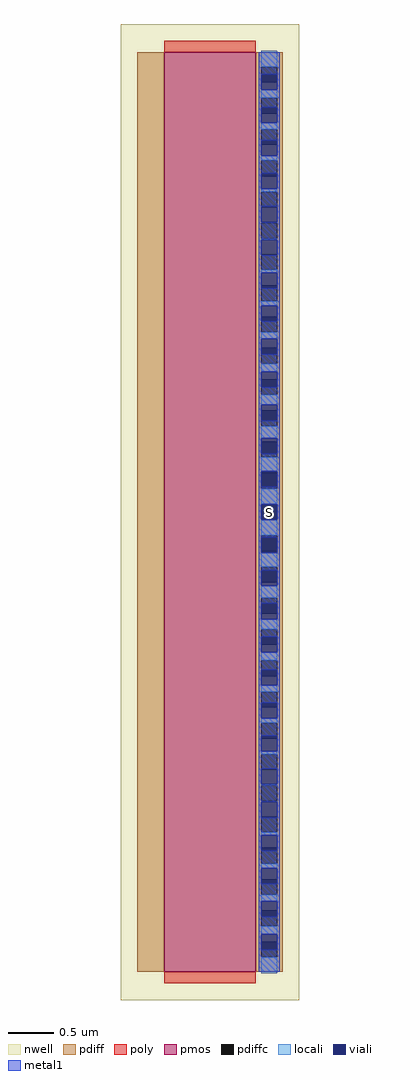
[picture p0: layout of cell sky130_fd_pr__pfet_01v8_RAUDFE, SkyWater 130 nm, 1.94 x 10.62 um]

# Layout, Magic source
magic
tech sky130A
magscale 1 2
<< nwell >>
rect -194 -1062 194 1062
<< pmos >>
rect -100 -1000 100 1000
<< pdiff >>
rect -158 -1000 -100 1000
rect 100 969 158 1000
rect 100 935 112 969
rect 146 935 158 969
rect 100 901 158 935
rect 100 867 112 901
rect 146 867 158 901
rect 100 833 158 867
rect 100 799 112 833
rect 146 799 158 833
rect 100 765 158 799
rect 100 731 112 765
rect 146 731 158 765
rect 100 697 158 731
rect 100 663 112 697
rect 146 663 158 697
rect 100 629 158 663
rect 100 595 112 629
rect 146 595 158 629
rect 100 561 158 595
rect 100 527 112 561
rect 146 527 158 561
rect 100 493 158 527
rect 100 459 112 493
rect 146 459 158 493
rect 100 425 158 459
rect 100 391 112 425
rect 146 391 158 425
rect 100 357 158 391
rect 100 323 112 357
rect 146 323 158 357
rect 100 289 158 323
rect 100 255 112 289
rect 146 255 158 289
rect 100 221 158 255
rect 100 187 112 221
rect 146 187 158 221
rect 100 153 158 187
rect 100 119 112 153
rect 146 119 158 153
rect 100 85 158 119
rect 100 51 112 85
rect 146 51 158 85
rect 100 17 158 51
rect 100 -17 112 17
rect 146 -17 158 17
rect 100 -51 158 -17
rect 100 -85 112 -51
rect 146 -85 158 -51
rect 100 -119 158 -85
rect 100 -153 112 -119
rect 146 -153 158 -119
rect 100 -187 158 -153
rect 100 -221 112 -187
rect 146 -221 158 -187
rect 100 -255 158 -221
rect 100 -289 112 -255
rect 146 -289 158 -255
rect 100 -323 158 -289
rect 100 -357 112 -323
rect 146 -357 158 -323
rect 100 -391 158 -357
rect 100 -425 112 -391
rect 146 -425 158 -391
rect 100 -459 158 -425
rect 100 -493 112 -459
rect 146 -493 158 -459
rect 100 -527 158 -493
rect 100 -561 112 -527
rect 146 -561 158 -527
rect 100 -595 158 -561
rect 100 -629 112 -595
rect 146 -629 158 -595
rect 100 -663 158 -629
rect 100 -697 112 -663
rect 146 -697 158 -663
rect 100 -731 158 -697
rect 100 -765 112 -731
rect 146 -765 158 -731
rect 100 -799 158 -765
rect 100 -833 112 -799
rect 146 -833 158 -799
rect 100 -867 158 -833
rect 100 -901 112 -867
rect 146 -901 158 -867
rect 100 -935 158 -901
rect 100 -969 112 -935
rect 146 -969 158 -935
rect 100 -1000 158 -969
<< pdiffc >>
rect 112 935 146 969
rect 112 867 146 901
rect 112 799 146 833
rect 112 731 146 765
rect 112 663 146 697
rect 112 595 146 629
rect 112 527 146 561
rect 112 459 146 493
rect 112 391 146 425
rect 112 323 146 357
rect 112 255 146 289
rect 112 187 146 221
rect 112 119 146 153
rect 112 51 146 85
rect 112 -17 146 17
rect 112 -85 146 -51
rect 112 -153 146 -119
rect 112 -221 146 -187
rect 112 -289 146 -255
rect 112 -357 146 -323
rect 112 -425 146 -391
rect 112 -493 146 -459
rect 112 -561 146 -527
rect 112 -629 146 -595
rect 112 -697 146 -663
rect 112 -765 146 -731
rect 112 -833 146 -799
rect 112 -901 146 -867
rect 112 -969 146 -935
<< poly >>
rect -100 1000 100 1026
rect -100 -1026 100 -1000
<< locali >>
rect 112 969 146 1004
rect 112 901 146 919
rect 112 833 146 847
rect 112 765 146 775
rect 112 697 146 703
rect 112 629 146 631
rect 112 593 146 595
rect 112 521 146 527
rect 112 449 146 459
rect 112 377 146 391
rect 112 305 146 323
rect 112 233 146 255
rect 112 161 146 187
rect 112 89 146 119
rect 112 17 146 51
rect 112 -51 146 -17
rect 112 -119 146 -89
rect 112 -187 146 -161
rect 112 -255 146 -233
rect 112 -323 146 -305
rect 112 -391 146 -377
rect 112 -459 146 -449
rect 112 -527 146 -521
rect 112 -595 146 -593
rect 112 -631 146 -629
rect 112 -703 146 -697
rect 112 -775 146 -765
rect 112 -847 146 -833
rect 112 -919 146 -901
rect 112 -1004 146 -969
<< viali >>
rect 112 935 146 953
rect 112 919 146 935
rect 112 867 146 881
rect 112 847 146 867
rect 112 799 146 809
rect 112 775 146 799
rect 112 731 146 737
rect 112 703 146 731
rect 112 663 146 665
rect 112 631 146 663
rect 112 561 146 593
rect 112 559 146 561
rect 112 493 146 521
rect 112 487 146 493
rect 112 425 146 449
rect 112 415 146 425
rect 112 357 146 377
rect 112 343 146 357
rect 112 289 146 305
rect 112 271 146 289
rect 112 221 146 233
rect 112 199 146 221
rect 112 153 146 161
rect 112 127 146 153
rect 112 85 146 89
rect 112 55 146 85
rect 112 -17 146 17
rect 112 -85 146 -55
rect 112 -89 146 -85
rect 112 -153 146 -127
rect 112 -161 146 -153
rect 112 -221 146 -199
rect 112 -233 146 -221
rect 112 -289 146 -271
rect 112 -305 146 -289
rect 112 -357 146 -343
rect 112 -377 146 -357
rect 112 -425 146 -415
rect 112 -449 146 -425
rect 112 -493 146 -487
rect 112 -521 146 -493
rect 112 -561 146 -559
rect 112 -593 146 -561
rect 112 -663 146 -631
rect 112 -665 146 -663
rect 112 -731 146 -703
rect 112 -737 146 -731
rect 112 -799 146 -775
rect 112 -809 146 -799
rect 112 -867 146 -847
rect 112 -881 146 -867
rect 112 -935 146 -919
rect 112 -953 146 -935
<< metal1 >>
rect 106 953 152 1000
rect 106 919 112 953
rect 146 919 152 953
rect 106 881 152 919
rect 106 847 112 881
rect 146 847 152 881
rect 106 809 152 847
rect 106 775 112 809
rect 146 775 152 809
rect 106 737 152 775
rect 106 703 112 737
rect 146 703 152 737
rect 106 665 152 703
rect 106 631 112 665
rect 146 631 152 665
rect 106 593 152 631
rect 106 559 112 593
rect 146 559 152 593
rect 106 521 152 559
rect 106 487 112 521
rect 146 487 152 521
rect 106 449 152 487
rect 106 415 112 449
rect 146 415 152 449
rect 106 377 152 415
rect 106 343 112 377
rect 146 343 152 377
rect 106 305 152 343
rect 106 271 112 305
rect 146 271 152 305
rect 106 233 152 271
rect 106 199 112 233
rect 146 199 152 233
rect 106 161 152 199
rect 106 127 112 161
rect 146 127 152 161
rect 106 89 152 127
rect 106 55 112 89
rect 146 55 152 89
rect 106 17 152 55
rect 106 -17 112 17
rect 146 -17 152 17
rect 106 -55 152 -17
rect 106 -89 112 -55
rect 146 -89 152 -55
rect 106 -127 152 -89
rect 106 -161 112 -127
rect 146 -161 152 -127
rect 106 -199 152 -161
rect 106 -233 112 -199
rect 146 -233 152 -199
rect 106 -271 152 -233
rect 106 -305 112 -271
rect 146 -305 152 -271
rect 106 -343 152 -305
rect 106 -377 112 -343
rect 146 -377 152 -343
rect 106 -415 152 -377
rect 106 -449 112 -415
rect 146 -449 152 -415
rect 106 -487 152 -449
rect 106 -521 112 -487
rect 146 -521 152 -487
rect 106 -559 152 -521
rect 106 -593 112 -559
rect 146 -593 152 -559
rect 106 -631 152 -593
rect 106 -665 112 -631
rect 146 -665 152 -631
rect 106 -703 152 -665
rect 106 -737 112 -703
rect 146 -737 152 -703
rect 106 -775 152 -737
rect 106 -809 112 -775
rect 146 -809 152 -775
rect 106 -847 152 -809
rect 106 -881 112 -847
rect 146 -881 152 -847
rect 106 -919 152 -881
rect 106 -953 112 -919
rect 146 -953 152 -919
rect 106 -1000 152 -953
<< labels >>
rlabel locali s 129 0 129 0 4 S
<< end >>
